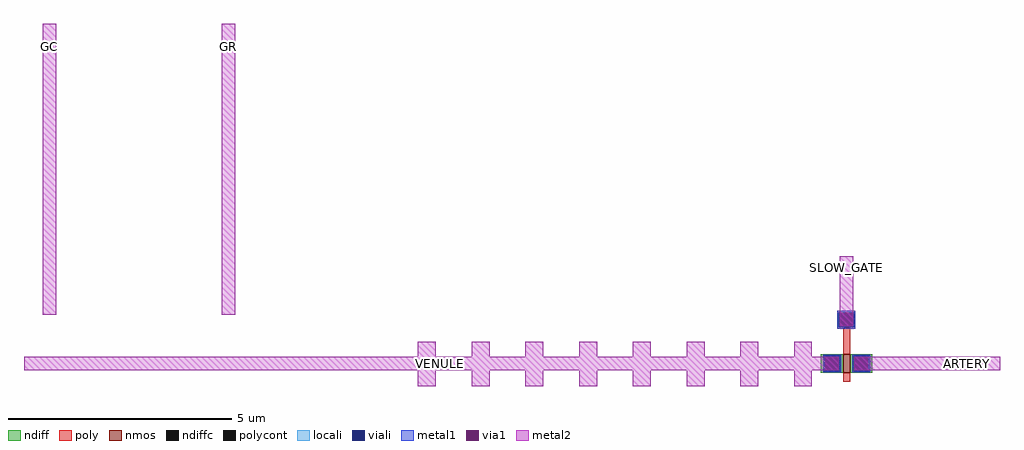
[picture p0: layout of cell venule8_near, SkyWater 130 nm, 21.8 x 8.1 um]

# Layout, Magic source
magic
tech sky130A
<< metal1 >>
rect 1805 801 1845 841
rect 1870 801 1910 841
rect 1837 899 1877 939
<< via1 >>
rect 1810 806 1840 836
rect 1875 806 1905 836
rect 1842 904 1872 934
<< metal2 >>
rect 62 930 92 1580
rect 462 930 492 1580
# deliberately near weak pair
rect 20 806 1840 836
rect 1875 806 2200 836
rect 1842 904 1872 1060
# spent landing pads
rect 900 770 940 870
rect 1020 770 1060 870
rect 1140 770 1180 870
rect 1260 770 1300 870
rect 1380 770 1420 870
rect 1500 770 1540 870
rect 1620 770 1660 870
rect 1740 770 1780 870
use nf_reset venule_outlet
transform 1 0 1800 0 1 800
box 0 -20 115 139
<< labels >>
rlabel metal2 62 1500 92 1560 0 GC
rlabel metal2 462 1500 492 1560 0 GR
rlabel metal2 900 806 1000 836 0 VENULE
rlabel metal2 2050 806 2200 836 0 ARTERY
rlabel metal2 1842 1010 1872 1060 0 SLOW_GATE
<< end >>

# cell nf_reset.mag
magic
tech sky130A
<< nmos >>
rect 50 0 65 42
<< ndiff >>
rect 0 38 50 42
rect 0 4 8 38
rect 42 4 50 38
rect 0 0 50 4
rect 65 38 115 42
rect 65 4 73 38
rect 107 4 115 38
rect 65 0 115 4
<< ndiffc >>
rect 8 4 42 38
rect 73 4 107 38
<< poly >>
rect 37 102 40 136
rect 74 102 77 136
rect 50 42 65 102
rect 50 -20 65 0
<< polycont >>
rect 40 102 74 136
<< locali >>
rect 37 102 40 136
rect 74 102 77 136
<< viali >>
rect 40 102 74 136
rect 8 4 42 38
rect 73 4 107 38
<< metal1 >>
rect 37 136 77 139
rect 37 102 40 136
rect 74 102 77 136
rect 37 99 77 102
rect 5 38 45 41
rect 5 4 8 38
rect 42 4 45 38
rect 5 1 45 4
rect 70 38 110 41
rect 70 4 73 38
rect 107 4 110 38
rect 70 1 110 4
<< labels >>
flabel metal1 s 5 1 45 41 0 FreeSans 200 0 0 0 SOURCE
port 1 nsew
flabel metal1 s 70 1 110 41 0 FreeSans 200 0 0 0 DRAIN
port 2 nsew
flabel metal1 s 37 99 77 139 0 FreeSans 200 0 0 0 GATE
port 3 nsew
<< end >>
